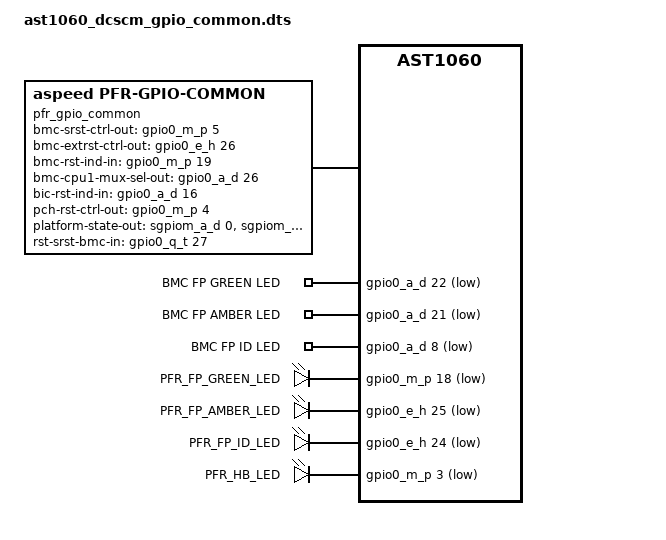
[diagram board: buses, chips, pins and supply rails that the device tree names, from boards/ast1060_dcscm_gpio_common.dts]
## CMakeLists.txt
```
# Copyright (c) 2022 ASPEED Technology Inc.
# SPDX-License-Identifier: MIT

cmake_minimum_required(VERSION 3.13.1)

find_package(Zephyr REQUIRED HINTS $ENV{ZEPHYR_BASE})
project(aspeed-pfr VERSION 03.00 LANGUAGES C)

set(PROJECT_VERSION_MAJOR ${CMAKE_PROJECT_VERSION_MAJOR})
set(PROJECT_VERSION_MINOR ${CMAKE_PROJECT_VERSION_MINOR})

configure_file(build_config.h.in build_config.h)
set(ASPEED_PFR_ROOT ${CMAKE_CURRENT_LIST_DIR})

add_subdirectory(src)

set(CERBERUS_ROOT $ENV{ZEPHYR_BASE}/../middlewares/cerberus)

zephyr_link_libraries(hrot_hal)
zephyr_link_libraries(hrot_wrapper)
zephyr_link_libraries(smf)

if (MBEDTLS_LMS_C)
    zephyr_link_libraries(lms)
endif()

zephyr_link_libraries(cerberus)
zephyr_link_libraries(mbedTLS)
zephyr_include_directories(mbedTLS)
zephyr_include_directories(.)
target_include_directories(
	app
	PRIVATE
	${CERBERUS_ROOT}/core
	${CERBERUS_ROOT}/projects/zephyr
	${ASPEED_PFR_ROOT}/src
	${ASPEED_PFR_ROOT}/src/state_machine
	${ZEPHYR_BASE}/include
	${PROJECT_BINARY_DIR}/include/generated
	${CMAKE_CURRENT_BINARY_DIR}
)
```

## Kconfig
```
# Copyright (c) 2022 ASPEED Technology Inc.
# # SPDX-License-Identifier: MIT

config ASPEED_DC_SCM
	default n
	bool "ASPEED DC-SCM board"
	help
	  Enable ASPEED DC-SCM board basic settings.

config BMC_DUAL_FLASH
	default n
	bool "Enable BMC dual flash support"
	help
	  Enable if BMC has dual flash

config CPU_DUAL_FLASH
	default n
	bool "Enable CPU dual flash support"
	help
	  Enable if CPU has dual flash

config INTEL_PFR
	default y
	bool "intel pfr solution"
	help
	  Intel PFR support

config CERBERUS_PFR
	depends on !INTEL_PFR
	default n
	bool "cerberus pfr solution"
	help
	  Cerberus PFR support

config SPI_MUX_INVERSE
	default n
	bool "Invert SPI MUX"
	help
	  Enable if SPI MUX connected to BMC/ROT is inverted

config ASPEED_STATE_MACHINE_SHELL
	default n
	bool "Aspeed State Machine Shell"
	help
	  Enable if user need debug shell to interact with state machine

config ASPEED_DICE_SHELL
	default n
	bool "Aspeed DICE Shell"
	help
	  Enable if user want to test ASPEED DICE core layer implementation.

config ASPEED_DICE_CERT_VALID_FROM
	depends on ASPEED_DICE_SHELL
	default "20221010000000"
	string "Aspeed DICE certificate validity, format : YYYYMMDDhhmmss"
	help
	  Certificate not valid before this date.

config ASPEED_DICE_CERT_VALID_TO
	depends on ASPEED_DICE_SHELL
	default "20421010000000"
	string "Aspeed DICE certificate validity, format : YYYYMMDDhhmmss"
	help
	  Certificate not valid after this date.

config ASPEED_DICE_CERT_DEVID_ISSUER_NAME
	depends on ASPEED_DICE_SHELL
	default "CN=Aspeed PFR R00t,O=AST_TW,C=TW"
	string "Aspeed DICE devid certificate issuer name"
	help
	  Name of the certification authority which issued the device id certificate.

config ASPEED_DICE_CERT_ALIAS_ISSUER_NAME
	depends on ASPEED_DICE_SHELL
	default "CN=Aspeed PFR Core,O=AST_TW,C=TW"
	string "Aspeed DICE alias certificate issuer name"
	help
	  Name of the certification authority which issued the alias certificate.

config ASPEED_DICE_CERT_ALIAS_SUBJECT_NAME
	depends on ASPEED_DICE_SHELL
	default "CN=Aspeed PFR Core,O=AST_TW,C=TW"
	string "Aspeed DICE alias certificate subject name"
	help
	  Name of the person or entity to whom the certificate is being issued.

config BMC_CHECKPOINT_RECOVERY
	default n
	bool "BMC Checkpoint timeout recovery function"
	help
	  Enable if BMC supports mailbox checkpoint

config BMC_CHECKPOINT_EXPIRE_TIME
	default 175000
	int "Maximum timeout value for BMC checkpoint in mS"
	help
	  After system is provisioned, the watchdog will be armed during BMC
	  booting. The expire time will be set to this number in milliseconds.

config PCH_CHECKPOINT_RECOVERY
	default n
	bool "PCH Checkpoint timeout recovery function"
	help
	  Enable if PCH supports mailbox checkpoint

config PCH_CHECKPOINT_EXPIRE_TIME
	default 900000
	int "Maximum timeout value for PCH checkpoint in mS"
	help
	  After system is provisioned, the watchdog will be armed during BIOS
	  booting. The expire time will be set to this number in milliseconds.

config PLATFORM_STATE_LED
	default n
	bool "Display platfrom state in 8 bits LED"
	help
	  Enable if the system has PlatformState LEDs

config FRONT_PANEL_LED
	default n
	bool "Enable PFR front panel LED signals"
	help
	  Enable if the system has PFR front panel design.

config BMC_STAGING_SIZE
	default 0x03DE0000
	hex "BMC staging region size in BMC flash"
	help
	  The max size of BMC staging area for putting signed BMC capsule.

config BMC_PFR_STAGING_SIZE
	default 0x100000
	hex "PFR staging region size in BMC flash"
	help
	  The max size of PFR staging area for putting signed ROT capsule.

config BMC_CPLD_STAGING_SIZE
	default 0x400000
	hex "Platform CPLD staging region size in BMC flash"
	help
	  The max size of platform CPLD staging area for putting signed CPLD capsule.

config PCH_STAGING_SIZE
	default 0x1000000
	hex "PCH staging region size in PCH flash"
	help
	  The max size of PCH staging area for putting signed PCH capsule.

config BMC_PFR_STAGING_OFFSET
	default 0xbde0000
	hex "PFR staging region offset in BMC flash"
	help
	  The starting offset of PFR staging region, and this is also for Cerberus PFR provisioning.

config INIT_POWER_SEQUENCE
	default n
	bool "Wait for CPLD power sequence to start PFR functionality"
	help
	  PFR state machine will stay in INIT state until CPLD power sequence releases
	  RST_SRST_BMC_N and RST_RSMRST_N.

config SEAMLESS_UPDATE
	depends on INTEL_PFR
	depends on !CERBERUS_PFR
	default n
	bool "Seamless update support"
	help
	  Support FVM verification and host firmware update by seamless capsule.
	  PFR will update host firmware without going to t-1 state and rebooting host.

config PIT_PROTECTION
	depends on INTEL_PFR
	depends on !CERBERUS_PFR
	default n
	bool "PIT protection support"
	help
	  Enable PIT protection functions and PIT mailbox commands.
	  ROT will perform PIT check if PIT protection is enabled via mailbox command.

config PFR_SW_MAILBOX
	default n
        bool "SW mailbox solution"
        help
          Enable SW mailbox support.

config KEY_MANIFEST_MAX_COUNT
	depends on CERBERUS_PFR
	default 0x10
	hex "Key manifest max count"
	help
	  The max count of key manifest for Cerberus PFR.

config LMS_SIGN_SERIAL_OFFSET
	default 4
	int "LMS Public key and Signature have the serial number or not"
	help
	  If there is no serial number, to set it to 0. Otherwise, to set it to 4.

config OTP_SIM
	depends on !OTP_ASPEED
	default n
	bool "Simulate OTP"
	help
	  Enable using flash to simulate OTP memory

config OTP_SIM_SHELL
	depends on OTP_SIM
	default n
	bool "OTP shell commands"
	help
	  Enable OTP commands for read otp data from flash

config OTP_KEY_ADD
	default n
	bool "Add new key in OTP"
	help
	  Add new pub key in OTP region for owner transfer

config OTP_KEY_RETIRE
	depends on !OTP_KEY_ADD
	default n
	bool "Retire key in OTP"
	help
	  Retire previous key after new owner's key is added in OTP.

config SECURE_LOCK_MODE
	default 0
	int "lock mode for secure connection, 0:disbale, 1:loose mode, 2:restrict mode"
	help
	  loose mode means to block the non-secure connection when provision mode is locked, restrict mode means to block the non-secure connection when provision data is presented

rsource "Kconfig.spdm"
rsource "Kconfig.rsu"

config PFR_DEBUG_SHELL
	bool "Enable debug shell for development"
	select SHELL
	select FLASH_SHELL
	select GPIO_SHELL
	select HWINFO_SHELL
	select SPI_MONITOR_SHELL_ASPEED
	select ASPEED_STATE_MACHINE_SHELL

config PROVISION_SHELL
        depends on PFR_DEBUG_SHELL
        bool "Enable provision debug shell for development"
        default n
        help
          provision debug shell command

config ASPEED_STATE_MACHINE_EVENT_STEPPING
	depends on ASPEED_STATE_MACHINE_SHELL
	bool "Event stepping for state machine"
	default n

config IGNORE_BIOS_VALIDATION
	bool "Ignore BIOS validation"
	default n
	help
	  workaround for disabling the BIOS validation

source "Kconfig.zephyr"
```

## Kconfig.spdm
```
config PFR_MCTP
	depends on CERBERUS
	depends on CERBERUS_MCTP
	default n
	bool "PFR MCTP support"
	help
	  Enable PFR MCTP support.

config PFR_SPDM_ATTESTATION
	depends on PFR_MCTP
	default n
	bool "SPDM attestation support"

config PFR_MCTP_I3C
	depends on PFR_SPDM_ATTESTATION
	depends on PFR_MCTP
	depends on I3C
	default n
	bool "PFR MCTP over I3C support"
	help
	  Enable MCTP over I3C support

config PFR_MCTP_I3C_5_0
	depends on PFR_MCTP_I3C
	default n
	bool "PFR 5.0 MCTP over I3C support"
	help
	  Enable MCTP over I3C support for PFR 5.0

config PFR_SPDM_RESPONDER
	depends on PFR_MCTP
	default n
	bool "SPDM responder support"

config SECURE_CONNECTION_RESPONDER
	depends on PFR_SPDM_RESPONDER
	default n
	bool "SPDM secure responder support"

config SECURE_CONNECTION_REQUESTER
	depends on PFR_MCTP
	default n
	bool "SPDM secure requester support"

config PFR_HEARTBEAT_PERIOD
	default 60
	range 0 255
	int "Period of heartbeat in seconds"

if PFR_SPDM_ATTESTATION

config BMC_AFM_RECOVERY_OFFSET
	default 0x0c300000
	hex "AFM recovery region offset in BMC flash"

config BMC_AFM_STAGING_RECOVERY_SIZE
	default 0x20000
	hex "AFM staging/recovery region size in BMC flash"

config PFR_SPDM_ATTESTATION_DURATION
	default 60
	int "First attestation after boot complete checkpoint in seconds"

config PFR_SPDM_ATTESTATION_PERIOD
	default 600
	int "Period of attestation in seconds"

config PFR_SPDM_ATTESTATION_DEVICE_OFFSET
	default 0x1000
	hex "Device offset in AFM Device Structure, default is 4KB"

config PFR_SPDM_ATTESTATION_MAX_DEVICES
	default 8
	int "Maximum supported device in AFM"

config PFR_SPDM_I3C_BUS
	default 2
	int "I3C bus for attestation"

config PFR_SPDM_CPU_I3C_BUS
	default 0
	int "CPU I3C bus for attestation"

config PFR_SPDM_I3C_BMC_DEV_PID
	default 0x7ec05031000
	hex "I3C device pid for BMC"

config PFR_SPDM_I3C_HUB_DEV_PID
	default 0x4cdffffffff
	hex "I3C device pid for i3c hub"

config PFR_SPDM_I3C_CPU0_DEV_PID
	default 0x20a0000000f
	hex "I3C device pid for CPU0"

config PFR_SPDM_I3C_CPU1_DEV_PID
	default 0x20a0000100f
	hex "I3C device pid for CPU1"

config AFM_SPEC_VERSION
	range 3 4
	int "AFM Spec. version"
	help
	  To define AFM Spec. version. The valid values are 3 or 4.

endif # PFR_SPDM_ATTESTATION
```

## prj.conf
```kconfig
CONFIG_EVENTS=y
CONFIG_GPIO=y
CONFIG_SPI=y
CONFIG_I2C=y
CONFIG_HWINFO=y
CONFIG_HWINFO_ASPEED=y
CONFIG_CLOCK_CONTROL=y
CONFIG_THREAD_RUNTIME_STATS=y
CONFIG_ENTROPY_GENERATOR=y
CONFIG_ENTROPY_ASPEED_TRNG=y
CONFIG_I2C_TARGET=y
#CONFIG_I2C_EEPROM_TARGET=y
CONFIG_FLASH=y
CONFIG_FLASH_PAGE_LAYOUT=y
CONFIG_SPI_NOR=n
CONFIG_SPI_NOR_MULTI_DEV=y
CONFIG_SPI_DMA_SUPPORT_ASPEED=y
CONFIG_HEAP_MEM_POOL_SIZE=16384
CONFIG_COMMON_LIBC_MALLOC_ARENA_SIZE=147456
CONFIG_REBOOT=y
CONFIG_STACK_SENTINEL=y
CONFIG_LOG=y
CONFIG_SHELL=y
CONFIG_LOG_BUFFER_SIZE=8192
CONFIG_CRYPTO=y
CONFIG_CRYPTO_ASPEED=y
CONFIG_RSA_ASPEED=y
CONFIG_MAIN_STACK_SIZE=16384
CONFIG_SMF=y
CONFIG_SMF_ANCESTOR_SUPPORT=y
CONFIG_FLASH_MAP=y
CONFIG_ECDSA_ASPEED=y
CONFIG_MBEDTLS=y
CONFIG_MBEDTLS_BUILTIN=y
CONFIG_MBEDTLS_ECDSA_C=y
CONFIG_MBEDTLS_ECP_C=y
CONFIG_MBEDTLS_ECP_DP_SECP384R1_ENABLED=y
CONFIG_MBEDTLS_ECP_DP_SECP256R1_ENABLED=y
CONFIG_MBEDTLS_SHA1=y
CONFIG_MBEDTLS_SHA384=y
CONFIG_MBEDTLS_ECP_NIST_OPTIM=y
CONFIG_MBEDTLS_HMAC_DRBG_ENABLED=y
CONFIG_MBEDTLS_KEY_EXCHANGE_ECDH_ECDSA_ENABLED=n
CONFIG_MBEDTLS_ECP_DP_CURVE25519_ENABLED=n
CONFIG_MBEDTLS_CIPHER_GCM_ENABLED=y
CONFIG_MBEDTLS_ZEPHYR_ENTROPY=y
CONFIG_MBEDTLS_ENTROPY_ENABLED=n
CONFIG_MBEDTLS_PSA_CRYPTO_C=n
CONFIG_MBEDTLS_LMS_C=n
CONFIG_MBEDTLS_LMS_PRIVATE=n
CONFIG_LMS_SIGN_SERIAL_OFFSET=4
CONFIG_BASE64=y
CONFIG_LMS_SHELL=n

# CONFIG_MBEDTLS_LOG_LEVEL_DBG=y
CONFIG_SHELL_STACK_SIZE=8192
CONFIG_SHELL_BACKEND_SERIAL_INIT_PRIORITY=99
CONFIG_SHELL_BACKEND_SERIAL_LOG_MESSAGE_QUEUE_TIMEOUT=-1
CONFIG_SHELL_BACKEND_SERIAL_LOG_MESSAGE_QUEUE_SIZE=1024
CONFIG_SHELL_ARGC_MAX=70

CONFIG_CERBERUS=y
CONFIG_HROT_HAL=y
CONFIG_HROT_WRAPPER=y
CONFIG_I2C_LOG_LEVEL_ERR=y
CONFIG_ABR_FLOW_CTRL_ASPEED=y
CONFIG_BMC_CHECKPOINT_RECOVERY=n
CONFIG_LED=y
CONFIG_LED_GPIO=y
CONFIG_FRONT_PANEL_LED=y
CONFIG_MBEDTLS_USER_CONFIG_ENABLE=y
CONFIG_MBEDTLS_USER_CONFIG_FILE="mbedtls_config.h"


# Set to N in production
# CONFIG_ASPEED_STATE_MACHINE_EVENT_STEPPING=y
CONFIG_PFR_DEBUG_SHELL=y

CONFIG_I2C_ASPEED_SHELL=y

# Set to Y for JTAG debugging
CONFIG_DEBUG_THREAD_INFO=y
CONFIG_DYNAMIC_INTERRUPTS=y
CONFIG_LINKER_LAST_SECTION_ID=n
CONFIG_SYS_HEAP_INFO=y
#CONFIG_OTP_SIM=y
#CONFIG_OTP_SIM_SHELL=y
#CONFIG_OTP_ASPEED=y
#CONFIG_SHELL_CMDS_OTP=y
#CONFIG_OTP_KEY_ADD=y
#CONFIG_OTP_KEY_RETIRE=y
```

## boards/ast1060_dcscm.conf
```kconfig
CONFIG_GPIO_ASPEED_SGPIOM=y
CONFIG_GPIO_ASPEED=y
CONFIG_SPI_ASPEED=y
CONFIG_SPI_MONITOR_ASPEED=y
CONFIG_SPI_NOR_ADDR_MODE_FALLBACK_DISABLED=y
CONFIG_I2C_ASPEED=y
CONFIG_I2C_PFR=y
CONFIG_I2C_PFR_INIT_PRIORITY=60
CONFIG_I2C_PFR_FILTER=y
CONFIG_WATCHDOG=y
CONFIG_WDT_ASPEED=y
CONFIG_ASPEED_DC_SCM=y
CONFIG_PFR_SW_MAILBOX=y
CONFIG_I2C_SWMBX_TARGET=y
CONFIG_PLATFORM_STATE_LED=y
CONFIG_CPU_DUAL_FLASH=y
CONFIG_BMC_STAGING_SIZE=0x3de0000
CONFIG_BMC_PFR_STAGING_SIZE=0x100000
CONFIG_BMC_CPLD_STAGING_SIZE=0x400000
CONFIG_PCH_STAGING_SIZE=0x1400000
CONFIG_PIT_PROTECTION=y

CONFIG_INTEL_PFR=y

# Intel PFR 3.0
CONFIG_SEAMLESS_UPDATE=y
CONFIG_CERBERUS_MCTP=y
CONFIG_CERBERUS_MCTP_TEST_ECHO=n
CONFIG_PFR_MCTP=y
CONFIG_PFR_SPDM_ATTESTATION=y
CONFIG_PFR_SPDM_RESPONDER=y

# Intel PFR 4.0
# MCTP over I3C
CONFIG_I3C=y
CONFIG_I3C_ASPEED=y
CONFIG_PFR_MCTP_I3C=y
CONFIG_I3C_IBI_WORKQUEUE=y
CONFIG_I3C_USE_IBI=y

# CPLD Update
#CONFIG_INTEL_PFR_CPLD_UPDATE=y
#CONFIG_INTEL_SCM_CPLD_UPDATE_ONLY=y

# Provision debug
CONFIG_PROVISION_SHELL=y

# AFM version settings
CONFIG_AFM_SPEC_VERSION=4
CONFIG_PFR_SPDM_ATTESTATION_DEVICE_OFFSET=0x2000
CONFIG_PFR_SPDM_ATTESTATION_MAX_DEVICES=33

# Intel PFR 5.0
CONFIG_PFR_MCTP_I3C_5_0=n
CONFIG_I3C_TARGET=n
CONFIG_I3C_TARGET_MQUEUE=n
CONFIG_SECURE_CONNECTION_RESPONDER=n
CONFIG_SECURE_CONNECTION_REQUESTER=n
CONFIG_SECURE_LOCK_MODE=2
```

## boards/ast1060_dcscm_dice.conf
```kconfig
CONFIG_GPIO_ASPEED_SGPIOM=y
CONFIG_GPIO_ASPEED=y
CONFIG_SPI_ASPEED=y
CONFIG_SPI_MONITOR_ASPEED=y
CONFIG_SPI_NOR_ADDR_MODE_FALLBACK_DISABLED=y
CONFIG_I2C_ASPEED=y
CONFIG_I2C_PFR=y
CONFIG_I2C_PFR_INIT_PRIORITY=60
CONFIG_I2C_PFR_FILTER=y
CONFIG_WATCHDOG=y
CONFIG_WDT_ASPEED=y
CONFIG_ASPEED_DC_SCM=y
CONFIG_PFR_SW_MAILBOX=y
CONFIG_I2C_SWMBX_TARGET=y
CONFIG_PLATFORM_STATE_LED=y
CONFIG_CPU_DUAL_FLASH=y
CONFIG_BMC_STAGING_SIZE=0x3de0000
CONFIG_BMC_PFR_STAGING_SIZE=0x100000
CONFIG_BMC_CPLD_STAGING_SIZE=0x400000
CONFIG_PCH_STAGING_SIZE=0x1400000

CONFIG_INTEL_PFR=y

# Intel PFR 3.0
CONFIG_SEAMLESS_UPDATE=y
CONFIG_CERBERUS_MCTP=y
CONFIG_CERBERUS_MCTP_TEST_ECHO=n
CONFIG_PFR_MCTP=y
CONFIG_PFR_SPDM_ATTESTATION=n
CONFIG_PFR_SPDM_RESPONDER=y

# Intel PFR 4.0
# MCTP over I3C
CONFIG_I3C=y
CONFIG_I3C_ASPEED=y
CONFIG_PFR_MCTP_I3C=y
CONFIG_I3C_IBI_WORKQUEUE=y
CONFIG_I3C_USE_IBI=y

# CPLD Update
#CONFIG_INTEL_PFR_CPLD_UPDATE=y
#CONFIG_INTEL_SCM_CPLD_UPDATE_ONLY=y

# Provision debug
CONFIG_PROVISION_SHELL=y

# AFM version settings
CONFIG_AFM_SPEC_VERSION=4
CONFIG_PFR_SPDM_ATTESTATION_DEVICE_OFFSET=0x2000
CONFIG_PFR_SPDM_ATTESTATION_MAX_DEVICES=33

# Intel PFR 5.0
CONFIG_PFR_MCTP_I3C_5_0=n
CONFIG_I3C_TARGET=n
CONFIG_I3C_TARGET_MQUEUE=n
CONFIG_SECURE_CONNECTION_RESPONDER=n
CONFIG_SECURE_CONNECTION_REQUESTER=n
CONFIG_SECURE_LOCK_MODE=2
```

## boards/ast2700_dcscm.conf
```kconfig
CONFIG_GPIO_ASPEED_SGPIOM=y
CONFIG_GPIO_ASPEED=y
CONFIG_SPI_ASPEED=y
CONFIG_SPI_MONITOR_ASPEED=y
CONFIG_SPI_NOR_ADDR_MODE_FALLBACK_DISABLED=y
CONFIG_I2C_ASPEED=y
CONFIG_I2C_PFR=y
CONFIG_I2C_PFR_INIT_PRIORITY=60
CONFIG_I2C_PFR_FILTER=y
CONFIG_WATCHDOG=y
CONFIG_WDT_ASPEED=y
CONFIG_ASPEED_DC_SCM=y
CONFIG_PFR_SW_MAILBOX=y
CONFIG_I2C_SWMBX_TARGET=y
CONFIG_PLATFORM_STATE_LED=n
CONFIG_CPU_DUAL_FLASH=y
CONFIG_BMC_STAGING_SIZE=0x3de0000
CONFIG_BMC_PFR_STAGING_SIZE=0x100000
CONFIG_BMC_CPLD_STAGING_SIZE=0x400000
CONFIG_PCH_STAGING_SIZE=0x2000000
CONFIG_PIT_PROTECTION=y

CONFIG_INTEL_PFR=y

# Intel PFR 3.0
CONFIG_SEAMLESS_UPDATE=y
CONFIG_CERBERUS_MCTP=y
CONFIG_CERBERUS_MCTP_TEST_ECHO=n
CONFIG_PFR_MCTP=y
CONFIG_PFR_SPDM_ATTESTATION=y
CONFIG_PFR_SPDM_RESPONDER=y

# Intel PFR 4.0
# MCTP over I3C
CONFIG_I3C=y
CONFIG_I3C_ASPEED=y
CONFIG_PFR_MCTP_I3C=y
CONFIG_I3C_IBI_WORKQUEUE=y
CONFIG_I3C_USE_IBI=y
CONFIG_PFR_SPDM_I3C_BMC_DEV_PID=0x7ec06000000

# CPLD Update
#CONFIG_INTEL_PFR_CPLD_UPDATE=y
#CONFIG_INTEL_SCM_CPLD_UPDATE_ONLY=y

# Provision debug
CONFIG_PROVISION_SHELL=y

# Intel PFR 5.0
# CONFIG_PFR_MCTP_I3C_5_0=y
# CONFIG_I3C_TARGET=y
# CONFIG_I3C_TARGET_MQUEUE=y
# CONFIG_SECURE_CONNECTION_RESPONDER=y
# CONFIG_SECURE_CONNECTION_REQUESTER=y
# CONFIG_SECURE_LOCK_MODE=2
```

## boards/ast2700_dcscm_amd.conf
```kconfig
CONFIG_GPIO_ASPEED_SGPIOM=y
CONFIG_GPIO_ASPEED=y
CONFIG_SPI_ASPEED=y
CONFIG_SPI_MONITOR_ASPEED=y
CONFIG_SPI_NOR_ADDR_MODE_FALLBACK_DISABLED=y
CONFIG_I2C_ASPEED=y
CONFIG_I2C_PFR=y
CONFIG_I2C_PFR_INIT_PRIORITY=60
CONFIG_I2C_PFR_FILTER=y
CONFIG_WATCHDOG=y
CONFIG_WDT_ASPEED=y
CONFIG_ASPEED_DC_SCM=y
CONFIG_PFR_SW_MAILBOX=y
CONFIG_I2C_SWMBX_TARGET=y
CONFIG_PLATFORM_STATE_LED=n
CONFIG_CPU_DUAL_FLASH=y
# for ast2700-dcscm-amd-128
CONFIG_BMC_STAGING_SIZE=0x2A00000
CONFIG_BMC_PFR_STAGING_OFFSET=0x7D40000
CONFIG_BMC_PFR_STAGING_SIZE=0x100000
CONFIG_BMC_CPLD_STAGING_SIZE=0x400000
CONFIG_PCH_STAGING_SIZE=0xf00000
CONFIG_KEY_MANIFEST_MAX_COUNT=0x10

# Provision debug
CONFIG_PROVISION_SHELL=y

# for AMD POC ignore BIOS validation
CONFIG_IGNORE_BIOS_VALIDATION=y
```

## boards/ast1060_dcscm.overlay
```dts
#include "ast1060_dcscm_gpio_common.dts"
#include "ast1060_dcscm_gpio_bhs.dts"

#define AFM_VERSION 4

&i2cfilter {
	status = "okay";
};

&mbxctrl {
	status = "okay";
};

&i2c0 {
	status = "okay";

	swmbx0: swmbx0@38 {
		compatible = "aspeed,swmbx-dev";
		reg = <0x38>;
		size = <256>;
		port = <0>;
		status = "okay";
	};
};

&i2c1 {
	status = "okay";
};

&i2c2 {
	status = "okay";

	swmbx1: swmbx1@70 {
		compatible = "aspeed,swmbx-dev";
		reg = <0x70>;
		size = <256>;
		port = <1>;
		status = "okay";
	};
};

&i2c4 {
	status = "okay";
};

&i2c5 {
	status = "okay";
};

&i2c6 {
	status = "okay";
};

&i2c7 {
	status = "okay";
};

#if 1
&i3c0 {
	status = "okay";
	sda-tx-hold-ns = <20>;
	i3c-pp-scl-hi-period-ns = <380>;
	i3c-pp-scl-lo-period-ns = <620>;
	pinctrl-0 = <pinctrl_i3c0_default>;

	// i3chub
	i3cdev@4cdffffffff {
		compatible = "i3c-dummy-device";
		reg = <0x0 0x4cd 0xffffffff>;
		status = "okay";
	};

	// cpu0
	i3cdev@20a0000000f {
		compatible = "i3c-dummy-device";
		reg = <0x0 0x20a 0x0000000f>;
		status = "okay";
	};

	// cpu1
	i3cdev@20a0000100f {
		compatible = "i3c-dummy-device";
		reg = <0x0 0x20a 0x0000100f>;
		status = "okay";
	};
};

// For mctp over i3c
// AST2600 i3c-1 -> AST1060 i3c-2
&i3c2 {
	status = "okay";
	sda-tx-hold-ns = <20>;
	i3c-pp-scl-hi-period-ns = <250>;
	i3c-pp-scl-lo-period-ns = <250>;

	pinctrl-0 = <pinctrl_i3c2_default>;

	i3cdev@7ec05031000 {
		compatible = "i3c-dummy-device";
		reg = <0x0 0x7ec 0x05031000>;
		status = "okay";
	};
};
#else
// For testing PFR 5.0 it requires following modification on dcscm card:
// - TP313 connected to R187
// - TP314 connected to R188
// AST1060 i3c0 -> AST2600 i3c0 (LV)
// AST1060 i3c2 -> AST2600 i3c1 (LV)
&i3c0 {
	status = "okay";
	dcr = <0xcc>;
	secondary;

	pinctrl-0 = < pinctrl_i3c0_default >;

	i3c0_tmq:i3c-tmq@7eca0030000 {
		compatible = "i3c-target-mqueue";
		reg = <0x0 0x7ec 0xa0030000>;
		msg-size = <128>;
		num-of-msgs = <8>;
		mandatory-data-byte = <0xae>;
		status = "okay";
	};
};

&i3c2 {
	status = "okay";
	dcr = <0xcc>;
	secondary;

	pinctrl-0 = < pinctrl_i3c2_default >;

	i3c2_tmq:i3c-tmq@7eca0032000 {
		compatible = "i3c-target-mqueue";
		reg = <0x0 0x7ec 0xa0032000>;
		msg-size = <128>;
		num-of-msgs = <8>;
		mandatory-data-byte = <0xae>;
		status = "okay";
	};
};
#endif

&wdt0 {
	status = "okay";
};

&wdt1 {
	status = "okay";
};

&wdt2 {
	status = "okay";
};

&wdt3 {
	status = "okay";
};

&wdt4 {
	status = "okay";
};

&fmc {
	status = "okay";
};

&fmc_cs0 {
	/delete-property/ write-block-size;
	status = "okay";
	spi-max-buswidth = <4>;
	spi-max-frequency = <50000000>;
	partitions {
		compatible = "fixed-partitions";
		#address-cells = <1>;
		#size-cells = <1>;
		active_partition: partition@0 {
			label = "active";
			reg = <0x0 0x60000>;
		};

		recovery_partition: partition@60000 {
			label = "recovery";
			reg = <0x60000 0x60000>;
		};

		state_partition: partition@c0000 {
			label = "state";
			reg = <0xC0000 0x10000>;
		};

		intel_state_partition: partition@d0000 {
			label = "intel_state";
			reg = <0xD0000 0x10000>;
		};

		key_partition: partition@e0000 {
			label = "key";
			reg = <0xE0000 0x10000>;
		};

		afm_act_1_partition: partition@f0000 {
			label = "afm_act_1";
			reg = <0xF0000 0x10000>;
		};
	};
};

&fmc_cs1 {
	status = "okay";
	spi-max-buswidth = <4>;
	spi-max-frequency = <50000000>;
	partitions {
		compatible = "fixed-partitions";
		#address-cells = <1>;
		#size-cells = <1>;
#if (AFM_VERSION == 4)
		/* Reserved for Intel-PFR 4.0 */
		afm_act1_partition: partition@0 {
			label = "afm_active_1";
			reg = <0x0 0x20000>;
		};

		afm_act2_partition: partition@20000 {
			label = "afm_active_2";
			reg = <0x20000 0x20000>;
		};

		afm_rcv1_partition: partition@40000 {
			label = "afm_recovery_1";
			reg = <0x40000 0x20000>;
		};

		afm_rcv2_partition: partition@60000 {
			label = "afm_recovery_2";
			reg = <0x60000 0x20000>;
		};

		intel_cpld_act_partition: partition@80000 {
			label = "intel_cpld_act";
			reg = <0x80000 0x1C0000>;
		};
		intel_cpld_rc_partition: partition@240000 {
			label = "intel_cpld_rc";
			reg = <0x240000 0x1C0000>;
		};
#elif (AFM_VERSION == 3)
		intel_cpld_act_partition: partition@0 {
			label = "intel_cpld_act";
			reg = <0x000000 0x200000>;
		};
		intel_cpld_rc_partition: partition@200000 {
			label = "intel_cpld_rc";
			reg = <0x200000 0x200000>;
		};
#endif
	};
};

&spi1 {
	num-cs = <1>;
	status = "okay";
};

/* "SPI1_CS0" used to access flash connected to SPI_Monitor_1,
 * "SPI2_CS0" used to access flash connected to SPI_Monitor_3,
 * "SPI2_CS1" is used to access flash connected to SPI_Monitor_4,
 */

&spi1_cs0 {
	spi-max-buswidth = <4>;
	spi-max-frequency = <50000000>;
	spi-monitor-ctrl = <&spim1>;
	status = "okay";
};

&spi2_cs0 {
	spi-max-buswidth = <1>;
	spi-max-frequency = <50000000>;
	spi-monitor-ctrl = <&spim3>;
	status = "okay";
};

&spi2_cs1 {
	spi-max-buswidth = <1>;
	spi-max-frequency = <50000000>;
	spi-monitor-ctrl = <&spim4>;
	status = "okay";
};

&spi2 {
	internal-mux-master = <2>;
	spi-monitor-output-base = <3>;
	spi-monitor-common-ctrl = <&spim0>;
	pinctrl-0 = <>;

	num-cs = <2>;
	status = "okay";

	spim-proprietary-config-enable;
};

&spim0 {
	status = "okay";
};

&spim1 {
	allow-cmds = [03 13 0b 0c 6b 6c 01 05 35 06 04 20 21 9f 5a b7 e9 32 34 d8 dc 02 12 3b 3c 70 bb bc];
	log-ram-size = <0x200>;
	pinctrl-0 = <pinctrl_spim1_quad_default>;
	pinctrl-names = "default";
	ext-mux-sel = <1>;
	status = "okay";

	write-forbidden-regions = <
		0x00000000 0x10000000
	>;
};

&spim3 {
	allow-cmds = [03 13 0b 0c 6b 6c 01 05 35 06 04 20 21 9f 5a b7 e9 32 34 d8 dc 02 12 3b 3c 70 bb bc];
	log-ram-size = <0x200>;
	pinctrl-0 = <&pin_spim3csin &pin_spim3clkin &pin_spim3mosiin &pin_spim3misoin
		&pin_spim3csout &pin_spim3io2in &pin_spim3io3in &pin_spim3clkout
		&pin_spim3misoout &pin_spim3mosiout &pin_spim3io2out &pin_spim3io3out
		&pin_spim3muxsel>;
	pinctrl-names = "default";
	ext-mux-sel = <1>;
	status = "okay";
	write-forbidden-regions = <
		0x00000000 0x08000000
	>;
};

&spim4 {
	allow-cmds = [03 13 0b 0c 6b 6c 01 05 35 06 04 20 21 9f 5a b7 e9 32 34 d8 dc 02 12 3b 3c 70 bb bc];
	log-ram-size = <0x200>;
	pinctrl-0 = <&pin_spim4csin &pin_spim4clkin &pin_spim4mosiin &pin_spim4misoin
		&pin_spim4csout &pin_spim4io2in &pin_spim4io3in &pin_spim4clkout
		&pin_spim4misoout &pin_spim4mosiout &pin_spim4io2out &pin_spim4io3out
		&pin_spim4muxsel>;
	pinctrl-names = "default";
	ext-mux-sel = <1>;
	status = "okay";
	write-forbidden-regions = <
		0x00000000 0x08000000
	>;
};

&sgpiom {
	status = "okay";
	sgpiom_a_d {
		status = "okay";
	};
	sgpiom_e_h {
		status = "okay";
	};
	sgpiom_i_l {
		status = "okay";
	};
	sgpiom_m_p {
		status = "okay";
	};
};

&hace {
	status = "okay";
};

&rsa {
	status = "okay";
};

&ecdsa {
	status = "okay";
};
```

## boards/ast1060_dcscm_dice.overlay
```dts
#include "ast1060_dcscm_gpio_common.dts"
#include "ast1060_dcscm_gpio_bhs.dts"

#define AFM_VERSION 4

&i2cfilter {
	status = "okay";
};

&mbxctrl {
	status = "okay";
};

&i2c0 {
	status = "okay";

	swmbx0: swmbx0@38 {
		compatible = "aspeed,swmbx-dev";
		reg = <0x38>;
		size = <256>;
		port = <0>;
		status = "okay";
	};
};

&i2c1 {
	status = "okay";
};

&i2c2 {
	status = "okay";

	swmbx1: swmbx1@70 {
		compatible = "aspeed,swmbx-dev";
		reg = <0x70>;
		size = <256>;
		port = <1>;
		status = "okay";
	};
};

&i2c4 {
	status = "okay";
};

&i2c5 {
	status = "okay";
};

&i2c6 {
	status = "okay";
};

&i2c7 {
	status = "okay";
};

#if 1
&i3c0 {
	status = "okay";
	sda-tx-hold-ns = <20>;
	i3c-pp-scl-hi-period-ns = <380>;
	i3c-pp-scl-lo-period-ns = <620>;
	pinctrl-0 = <pinctrl_i3c0_default>;

	// i3chub
	i3cdev@4cdffffffff {
		compatible = "i3c-dummy-device";
		reg = <0x0 0x4cd 0xffffffff>;
		status = "okay";
	};

	// cpu0
	i3cdev@20a0000000f {
		compatible = "i3c-dummy-device";
		reg = <0x0 0x20a 0x0000000f>;
		status = "okay";
	};

	// cpu1
	i3cdev@20a0000100f {
		compatible = "i3c-dummy-device";
		reg = <0x0 0x20a 0x0000100f>;
		status = "okay";
	};
};

// For mctp over i3c
// AST2600 i3c-1 -> AST1060 i3c-2
&i3c2 {
	status = "okay";
	sda-tx-hold-ns = <20>;
	i3c-pp-scl-hi-period-ns = <250>;
	i3c-pp-scl-lo-period-ns = <250>;

	pinctrl-0 = <pinctrl_i3c2_default>;

	i3cdev@7ec05031000 {
		compatible = "i3c-dummy-device";
		reg = <0x0 0x7ec 0x05031000>;
		status = "okay";
	};
};
#else
// For testing PFR 5.0 it requires following modification on dcscm card:
// - TP313 connected to R187
// - TP314 connected to R188
// AST1060 i3c0 -> AST2600 i3c0 (LV)
// AST1060 i3c2 -> AST2600 i3c1 (LV)
&i3c0 {
	status = "okay";
	dcr = <0xcc>;
	secondary;

	pinctrl-0 = < pinctrl_i3c0_default >;

	i3c0_tmq:i3c-tmq@7eca0030000 {
		compatible = "i3c-target-mqueue";
		reg = <0x0 0x7ec 0xa0030000>;
		msg-size = <128>;
		num-of-msgs = <8>;
		mandatory-data-byte = <0xae>;
		status = "okay";
	};
};

&i3c2 {
	status = "okay";
	dcr = <0xcc>;
	secondary;

	pinctrl-0 = < pinctrl_i3c2_default >;

	i3c2_tmq:i3c-tmq@7eca0032000 {
		compatible = "i3c-target-mqueue";
		reg = <0x0 0x7ec 0xa0032000>;
		msg-size = <128>;
		num-of-msgs = <8>;
		mandatory-data-byte = <0xae>;
		status = "okay";
	};
};
#endif

&wdt0 {
	status = "okay";
};

&wdt1 {
	status = "okay";
};

&wdt2 {
	status = "okay";
};

&wdt3 {
	status = "okay";
};

&wdt4 {
	status = "okay";
};

&fmc {
	status = "okay";
};

&fmc_cs0 {
	/delete-property/ broken-sfdp;
	/delete-property/ write-block-size;
	status = "okay";
	spi-max-buswidth = <4>;
	spi-max-frequency = <50000000>;
	partitions {
		compatible = "fixed-partitions";
		#address-cells = <1>;
		#size-cells = <1>;
		mcuboot_partition: partition@0 {
			label = "mcuboot";
			reg = <0x0 0x1c000>;
		};

		certificate_partition: partition@1c000 {
			label = "certificate";
			reg = <0x1c000 0x4000>;
		};


		active_partition: partition@20000 {
			label = "active";
			reg = <0x20000 0x60000>;
		};

		recovery_partition: partition@80000 {
			label = "recovery";
			reg = <0x80000 0x60000>;
		};

		afm_act_1_partition: partition@e0000 {
			label = "afm_act_1";
			reg = <0xe0000 0x6000>;
		};

		state_partition: partition@e6000 {
			label = "state";
			reg = <0xe6000 0x2000>;
		};

		key_partition: partition@e8000 {
			label = "key";
			reg = <0xe8000 0x8000>;
		};

		intel_state_partition: partition@f0000 {
			label = "intel_state";
			reg = <0xf0000 0x10000>;
		};
	};
};

&fmc_cs1 {
	status = "okay";
	spi-max-buswidth = <4>;
	spi-max-frequency = <50000000>;
	partitions {
		compatible = "fixed-partitions";
		#address-cells = <1>;
		#size-cells = <1>;
#if (AFM_VERSION == 4)
		/* Reserved for Intel-PFR 4.0 */
		afm_act1_partition: partition@0 {
			label = "afm_active_1";
			reg = <0x0 0x20000>;
		};

		afm_act2_partition: partition@20000 {
			label = "afm_active_2";
			reg = <0x20000 0x20000>;
		};

		afm_rcv1_partition: partition@40000 {
			label = "afm_recovery_1";
			reg = <0x40000 0x20000>;
		};

		afm_rcv2_partition: partition@60000 {
			label = "afm_recovery_2";
			reg = <0x60000 0x20000>;
		};

		intel_cpld_act_partition: partition@80000 {
			label = "intel_cpld_act";
			reg = <0x80000 0x1C0000>;
		};
		intel_cpld_rc_partition: partition@240000 {
			label = "intel_cpld_rc";
			reg = <0x240000 0x1C0000>;
		};
#elif (AFM_VERSION == 3)
		intel_cpld_act_partition: partition@0 {
			label = "intel_cpld_act";
			reg = <0x000000 0x200000>;
		};
		intel_cpld_rc_partition: partition@200000 {
			label = "intel_cpld_rc";
			reg = <0x200000 0x200000>;
		};
#endif
	};
};

&spi1 {
	num-cs = <1>;
	status = "okay";
};

/* "SPI1_CS0" used to access flash connected to SPI_Monitor_1,
 * "SPI2_CS0" used to access flash connected to SPI_Monitor_3,
 * "SPI2_CS1" is used to access flash connected to SPI_Monitor_4,
 */

&spi1_cs0 {
	spi-max-buswidth = <4>;
	spi-max-frequency = <50000000>;
	spi-monitor-ctrl = <&spim1>;
	status = "okay";
};

&spi2_cs0 {
	spi-max-buswidth = <1>;
	spi-max-frequency = <50000000>;
	spi-monitor-ctrl = <&spim3>;
	status = "okay";
};

&spi2_cs1 {
	spi-max-buswidth = <1>;
	spi-max-frequency = <50000000>;
	spi-monitor-ctrl = <&spim4>;
	status = "okay";
};

&spi2 {
	internal-mux-master = <2>;
	spi-monitor-output-base = <3>;
	spi-monitor-common-ctrl = <&spim0>;
	pinctrl-0 = <>;

	num-cs = <2>;
	status = "okay";

	spim-proprietary-config-enable;
};

&spim0 {
	status = "okay";
};

&spim1 {
	allow-cmds = [03 13 0b 0c 6b 6c 01 05 35 06 04 20 21 9f 5a b7 e9 32 34 d8 dc 02 12 3b 3c 70 bb bc];
	log-ram-size = <0x200>;
	pinctrl-0 = <pinctrl_spim1_quad_default>;
	pinctrl-names = "default";
	ext-mux-sel = <1>;
	status = "okay";

	write-forbidden-regions = <
		0x00000000 0x10000000
	>;
};

&spim3 {
	allow-cmds = [03 13 0b 0c 6b 6c 01 05 35 06 04 20 21 9f 5a b7 e9 32 34 d8 dc 02 12 3b 3c 70 bb bc];
	log-ram-size = <0x200>;
	pinctrl-0 = <&pin_spim3csin &pin_spim3clkin &pin_spim3mosiin &pin_spim3misoin
		&pin_spim3csout &pin_spim3io2in &pin_spim3io3in &pin_spim3clkout
		&pin_spim3misoout &pin_spim3mosiout &pin_spim3io2out &pin_spim3io3out
		&pin_spim3muxsel>;
	pinctrl-names = "default";
	ext-mux-sel = <1>;
	status = "okay";
	write-forbidden-regions = <
		0x00000000 0x08000000
	>;
};

&spim4 {
	allow-cmds = [03 13 0b 0c 6b 6c 01 05 35 06 04 20 21 9f 5a b7 e9 32 34 d8 dc 02 12 3b 3c 70 bb bc];
	log-ram-size = <0x200>;
	pinctrl-0 = <&pin_spim4csin &pin_spim4clkin &pin_spim4mosiin &pin_spim4misoin
		&pin_spim4csout &pin_spim4io2in &pin_spim4io3in &pin_spim4clkout
		&pin_spim4misoout &pin_spim4mosiout &pin_spim4io2out &pin_spim4io3out
		&pin_spim4muxsel>;
	pinctrl-names = "default";
	ext-mux-sel = <1>;
	status = "okay";
	write-forbidden-regions = <
		0x00000000 0x08000000
	>;
};

&sgpiom {
	status = "okay";
	sgpiom_a_d {
		status = "okay";
	};
	sgpiom_e_h {
		status = "okay";
	};
	sgpiom_i_l {
		status = "okay";
	};
	sgpiom_m_p {
		status = "okay";
	};
};

&hace {
	status = "okay";
};

&rsa {
	status = "okay";
};

&ecdsa {
	status = "okay";
};
```

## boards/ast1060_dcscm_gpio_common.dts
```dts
#include <dt-bindings/gpio/gpio.h>

/ {
	pfr_gpio_common {
		compatible = "aspeed,pfr-gpio-common";
		bmc-srst-ctrl-out-gpios = <&gpio0_m_p 5 0>; /* GPIO_M5 */
		bmc-extrst-ctrl-out-gpios = <&gpio0_e_h 26 0>; /* GPIO_H2 */
		bmc-rst-ind-in-gpios = <&gpio0_m_p 19 0>; /* GPIO_O3 */
		bmc-cpu1-mux-sel-out-gpios = <&gpio0_a_d 26 0>; /* GPIO_D2 */
		bic-rst-ind-in-gpios = <&gpio0_a_d 16 0>; /* GPIO_C0 */
		pch-rst-ctrl-out-gpios = <&gpio0_m_p 4 0>; /* GPIO_M4 */

		platform-state-out-gpios =
			<&sgpiom_a_d 0 0>, <&sgpiom_a_d 1 0>,
			<&sgpiom_a_d 2 0>, <&sgpiom_a_d 3 0>,
			<&sgpiom_a_d 4 0>, <&sgpiom_a_d 5 0>,
			<&sgpiom_a_d 6 0>, <&sgpiom_a_d 7 0>;

		/* NOTICE:
		 * Normally, these two pin should be GPIO_ACTIVE_LOW, but currently this EVB
		 * doesn't produce correct power sequence by itself.
		 */
		rst-srst-bmc-in-gpios = <&gpio0_q_t 27 GPIO_ACTIVE_HIGH>; /* GPIO_T3 */
		rst-rsmrst-in-gpios = <&gpio0_q_t 24 GPIO_ACTIVE_HIGH>; /* GPIO_T0 */
	};

	aliases {
		fp-input0 = &bmc_fp_green_led_in;
		fp-input1 = &bmc_fp_amber_led_in;
		fp-input2 = &bmc_fp_id_led_in;
	};

	gpio_keys {
		compatible = "gpio-keys";
		bmc_fp_green_led_in: fp_green_led_in {
			gpios = <&gpio0_a_d 22 1>; /* GPIO_C6 */
			label = "BMC FP GREEN LED";
		};

		bmc_fp_amber_led_in: fp_amber_led_in {
			gpios = <&gpio0_a_d 21 1>; /* GPIO_C5 */
			label = "BMC FP AMBER LED";
		};

		bmc_fp_id_led_in: fp_id_led_in {
			gpios = <&gpio0_a_d 8 1>; /* GPIO_B0 */
			label = "BMC FP ID LED";
		};
	};

	leds {
		compatible = "gpio-leds";

		pfr_fp_green_led_out: green_led {
			gpios = <&gpio0_m_p 18 1>; /* GPIO_O2 */
			label = "PFR_FP_GREEN_LED";
		};

		pfr_fp_amber_led_out: amber_led {
			gpios = <&gpio0_e_h 25 1>; /* GPIO_H1 */
			label = "PFR_FP_AMBER_LED";
		};

		pfr_fp_id_led_out: id_led {
			gpios = <&gpio0_e_h 24 1>; /* GPIO_H0 */
			label = "PFR_FP_ID_LED";
		};

		pfr_hb_led_out: hb_led {
			gpios = <&gpio0_m_p 3 1>; /* GPIO_M3 */
			label = "PFR_HB_LED";
		};
	};
};
```

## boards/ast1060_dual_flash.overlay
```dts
#include "ast1060_dcscm_gpio_common.dts"
#include "ast1060_dcscm_gpio_egs.dts"

&i2cfilter {
	status = "okay";
};

&mbxctrl {
	status = "okay";
};

&i2c0 {
	status = "okay";

	swmbx0: swmbx0@38 {
		compatible = "aspeed,swmbx-dev";
		reg = <0x38>;
		size = <256>;
		port = <0>;
		status = "okay";
	};
};

&i2c1 {
	status = "okay";
};

&i2c2 {
	status = "okay";

	swmbx1: swmbx1@70 {
		compatible = "aspeed,swmbx-dev";
		reg = <0x70>;
		size = <256>;
		port = <1>;
		status = "okay";
	};
};

&i2c3 {
	status = "okay";
};

&i2c4 {
	status = "okay";
};

&i2c5 {
	status = "okay";
};

&i2c6 {
	status = "okay";
};

&i2c7 {
	status = "okay";
};

&wdt0 {
	status = "okay";
};

&wdt1 {
	status = "okay";
};

&wdt2 {
	status = "okay";
};

&wdt3 {
	status = "okay";
};

&wdt4 {
	status = "okay";
};

&fmc {
	status = "okay";
};

&fmc_cs0 {
	/delete-property/ write-block-size;
	status = "okay";
	spi-max-buswidth = <4>;
	spi-max-frequency = <50000000>;
	partitions {
		compatible = "fixed-partitions";
		#address-cells = <1>;
		#size-cells = <1>;
		active_partition: partition@0 {
			label = "active";
			reg = <0x0 0x60000>;
		};

		recovery_partition: partition@60000 {
			label = "recovery";
			reg = <0x60000 0x60000>;
		};

		state_partition: partition@c0000 {
			label = "state";
			reg = <0xC0000 0x10000>;
		};

		intel_state_partition: partition@d0000 {
			label = "intel_state";
			reg = <0xD0000 0x10000>;
		};

		key_partition: partition@e0000 {
			label = "key";
			reg = <0xE0000 0x10000>;
		};

		afm_act_1_partition: partition@f0000 {
			label = "afm_act_1";
			reg = <0xF0000 0x10000>;
		};
	};
};

&fmc_cs1 {
	status = "okay";
	spi-max-buswidth = <4>;
	spi-max-frequency = <50000000>;
};

&spi1 {
	num-cs = <2>;
	status = "okay";
};

/* "SPI1_CS0" is used to access flash connected to SPI_Monitor_1,
 * "SPI1_CS1" is used to access flash connected to SPI_Monitor_2,
 * "SPI2_CS0" is used to access flash connected to SPI_Monitor_3,
 * "SPI2_CS1" is used to access flash connected to SPI_Monitor_4,
 */

&spi1_cs0 {
	spi-max-buswidth = <4>;
	spi-max-frequency = <50000000>;
	spi-monitor-ctrl = <&spim1>;
	status = "okay";
};

&spi1_cs1 {
	spi-max-buswidth = <4>;
	spi-max-frequency = <50000000>;
	spi-monitor-ctrl = <&spim2>;
	status = "okay";
};

&spi2_cs0 {
	spi-max-buswidth = <1>;
	spi-max-frequency = <50000000>;
	spi-monitor-ctrl = <&spim3>;
	status = "okay";
};

&spi2_cs1 {
	spi-max-buswidth = <1>;
	spi-max-frequency = <50000000>;
	spi-monitor-ctrl = <&spim4>;
	status = "okay";
};

&spi2 {
	internal-mux-master = <2>;
	spi-monitor-output-base = <3>;
	spi-monitor-common-ctrl = <&spim0>;
	pinctrl-0 = <>;

	num-cs = <2>;
	status = "okay";

	spim-proprietary-config-enable;
};

&spim0 {
	status = "okay";
};

&spim1 {
	allow-cmds = [03 13 0b 0c 6b 6c 01 05 35 06 04 20 21 9f 5a b7 e9 32 34 d8 dc 02 12 3b 3c 70 bb bc];
	log-ram-size = <0x200>;
	pinctrl-0 = <pinctrl_spim1_quad_default>;
	pinctrl-names = "default";
	ext-mux-sel = <1>;
	status = "okay";

	write-forbidden-regions = <
		0x00000000 0x08000000
	>;
};

&spim2 {
	allow-cmds = [03 13 0b 0c 6b 6c 01 05 35 06 04 20 21 9f 5a b7 e9 32 34 d8 dc 02 12 3b 3c 70 bb bc];
	log-ram-size = <0x200>;
	pinctrl-0 = <pinctrl_spim2_quad_default>;
	pinctrl-names = "default";
	ext-mux-sel = <1>;
	status = "okay";

	write-forbidden-regions = <
		0x00000000 0x08000000
	>;
};

&spim3 {
	allow-cmds = [03 13 0b 0c 6b 6c 01 05 35 06 04 20 21 9f 5a b7 e9 32 34 d8 dc 02 12 3b 3c 70 bb bc];
	log-ram-size = <0x200>;
	pinctrl-0 = <&pin_spim3csin &pin_spim3clkin &pin_spim3mosiin &pin_spim3misoin
		&pin_spim3csout &pin_spim3io2in &pin_spim3io3in &pin_spim3clkout
		&pin_spim3misoout &pin_spim3mosiout &pin_spim3io2out &pin_spim3io3out
		&pin_spim3muxsel>;
	pinctrl-names = "default";
	ext-mux-sel = <1>;
	status = "okay";
	write-forbidden-regions = <
		0x00000000 0x08000000
	>;
};

&spim4 {
	allow-cmds = [03 13 0b 0c 6b 6c 01 05 35 06 04 20 21 9f 5a b7 e9 32 34 d8 dc 02 12 3b 3c 70 bb bc];
	log-ram-size = <0x200>;
	pinctrl-0 = <&pin_spim4csin &pin_spim4clkin &pin_spim4mosiin &pin_spim4misoin
		&pin_spim4csout &pin_spim4io2in &pin_spim4io3in &pin_spim4clkout
		&pin_spim4misoout &pin_spim4mosiout &pin_spim4io2out &pin_spim4io3out
		&pin_spim4muxsel>;
	pinctrl-names = "default";
	ext-mux-sel = <1>;
	status = "okay";
	write-forbidden-regions = <
		0x00000000 0x08000000
	>;
};

&sgpiom {
	status = "okay";
	sgpiom_a_d {
		status = "okay";
	};
	sgpiom_e_h {
		status = "okay";
	};
	sgpiom_i_l {
		status = "okay";
	};
	sgpiom_m_p {
		status = "okay";
	};
};

&hace {
	status = "okay";
};

&rsa {
	status = "okay";
};

&ecdsa {
	status = "okay";
};
```

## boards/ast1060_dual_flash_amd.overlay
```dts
#include "ast1060_dcscm_gpio_common.dts"
#include "ast1060_dcscm_gpio_genoa.dts"

&i2cfilter {
	status = "okay";
};

&mbxctrl {
	status = "okay";
};

&i2c0 {
	status = "okay";

	swmbx0: swmbx0@38 {
		compatible = "aspeed,swmbx-dev";
		reg = <0x38>;
		size = <256>;
		port = <0>;
		status = "okay";
	};
};

&i2c1 {
	status = "okay";
};

&i2c2 {
	status = "okay";

	swmbx1: swmbx1@70 {
		compatible = "aspeed,swmbx-dev";
		reg = <0x70>;
		size = <256>;
		port = <1>;
		status = "okay";
	};
};

&i2c3 {
	status = "okay";
};

&i2c4 {
	status = "okay";
};

&i2c5 {
	status = "okay";
};

&i2c6 {
	status = "okay";
};

&i2c7 {
	status = "okay";
};

&wdt0 {
	status = "okay";
};

&wdt1 {
	status = "okay";
};

&wdt2 {
	status = "okay";
};

&wdt3 {
	status = "okay";
};

&wdt4 {
	status = "okay";
};

&fmc {
	status = "okay";
};

&fmc_cs0 {
	/delete-property/ write-block-size;
	status = "okay";
	spi-max-buswidth = <4>;
	spi-max-frequency = <50000000>;
	partitions {
		compatible = "fixed-partitions";
		#address-cells = <1>;
		#size-cells = <1>;
		active_partition: partition@0 {
			label = "active";
			reg = <0x0 0x60000>;
		};

		recovery_partition: partition@60000 {
			label = "recovery";
			reg = <0x60000 0x60000>;
		};

		state_partition: partition@c0000 {
			label = "state";
			reg = <0xC0000 0x10000>;
		};

		intel_state_partition: partition@d0000 {
			label = "intel_state";
			reg = <0xD0000 0x10000>;
		};

		key_partition: partition@e0000 {
			label = "key";
			reg = <0xE0000 0x10000>;
		};

		afm_partition: partition@f0000 {
			label = "afm_act_1";
			reg = <0xF0000 0x10000>;
		};
	};
};

&fmc_cs1 {
	status = "okay";
	spi-max-buswidth = <4>;
	spi-max-frequency = <50000000>;
};

&spi1 {
	num-cs = <2>;
	status = "okay";
};

/* "SPI1_CS0" is used to access flash connected to SPI_Monitor_1,
 * "SPI1_CS1" is used to access flash connected to SPI_Monitor_2,
 * "SPI2_CS0" is used to access flash connected to SPI_Monitor_3,
 * "SPI2_CS1" is used to access flash connected to SPI_Monitor_4,
 */

&spi1_cs0 {
	spi-max-buswidth = <4>;
	spi-max-frequency = <50000000>;
	spi-monitor-ctrl = <&spim1>;
	status = "okay";
};

&spi1_cs1 {
	spi-max-buswidth = <4>;
	spi-max-frequency = <50000000>;
	spi-monitor-ctrl = <&spim2>;
	status = "okay";
};

&spi2_cs0 {
	spi-max-buswidth = <1>;
	spi-max-frequency = <50000000>;
	spi-monitor-ctrl = <&spim3>;
	status = "okay";
};

&spi2_cs1 {
	spi-max-buswidth = <1>;
	spi-max-frequency = <50000000>;
	spi-monitor-ctrl = <&spim4>;
	status = "okay";
};

&spi2 {
	internal-mux-master = <2>;
	spi-monitor-output-base = <3>;
	spi-monitor-common-ctrl = <&spim0>;
	pinctrl-0 = <>;

	num-cs = <2>;
	status = "okay";

	spim-proprietary-config-enable;
};

&spim0 {
	status = "okay";
};

&spim1 {
	allow-cmds = [03 13 0b 0c 6b 6c 01 05 35 06 04 20 21 9f 5a b7 e9 32 34 d8 dc 02 12 3b 3c 70 bb bc];
	log-ram-size = <0x200>;
	pinctrl-0 = <pinctrl_spim1_quad_default>;
	pinctrl-names = "default";
	ext-mux-sel = <1>;
	status = "okay";

	write-forbidden-regions = <
		0x00000000 0x08000000
	>;
};

&spim2 {
	allow-cmds = [03 13 0b 0c 6b 6c 01 05 35 06 04 20 21 9f 5a b7 e9 32 34 d8 dc 02 12 3b 3c 70 bb bc];
	log-ram-size = <0x200>;
	pinctrl-0 = <pinctrl_spim2_quad_default>;
	pinctrl-names = "default";
	ext-mux-sel = <1>;
	status = "okay";

	write-forbidden-regions = <
		0x00000000 0x08000000
	>;
};

&spim3 {
	allow-cmds = [03 13 0b 0c 6b 6c 01 05 35 06 04 20 21 9f 5a b7 e9 32 34 d8 dc 02 12 3b 3c 70 bb bc];
	log-ram-size = <0x200>;
	pinctrl-0 = <&pin_spim3csin &pin_spim3clkin &pin_spim3mosiin &pin_spim3misoin
		&pin_spim3csout &pin_spim3io2in &pin_spim3io3in &pin_spim3clkout
		&pin_spim3misoout &pin_spim3mosiout &pin_spim3io2out &pin_spim3io3out
		&pin_spim3muxsel>;
	pinctrl-names = "default";
	ext-mux-sel = <1>;
	status = "okay";
	write-forbidden-regions = <
		0x00000000 0x08000000
	>;
};

&spim4 {
	allow-cmds = [03 13 0b 0c 6b 6c 01 05 35 06 04 20 21 9f 5a b7 e9 32 34 d8 dc 02 12 3b 3c 70 bb bc];
	log-ram-size = <0x200>;
	pinctrl-0 = <&pin_spim4csin &pin_spim4clkin &pin_spim4mosiin &pin_spim4misoin
		&pin_spim4csout &pin_spim4io2in &pin_spim4io3in &pin_spim4clkout
		&pin_spim4misoout &pin_spim4mosiout &pin_spim4io2out &pin_spim4io3out
		&pin_spim4muxsel>;
	pinctrl-names = "default";
	ext-mux-sel = <1>;
	status = "okay";
	write-forbidden-regions = <
		0x00000000 0x08000000
	>;
};

&sgpiom {
	status = "okay";
	sgpiom_a_d {
		status = "okay";
	};
	sgpiom_e_h {
		status = "okay";
	};
	sgpiom_i_l {
		status = "okay";
	};
	sgpiom_m_p {
		status = "okay";
	};
};

&hace {
	status = "okay";
};

&rsa {
	status = "okay";
};

&ecdsa {
	status = "okay";
};
```

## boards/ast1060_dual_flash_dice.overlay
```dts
#include "ast1060_dcscm_gpio_common.dts"
#include "ast1060_dcscm_gpio_egs.dts"

&i2cfilter {
	status = "okay";
};

&mbxctrl {
	status = "okay";
};

&i2c0 {
	status = "okay";

	swmbx0: swmbx0@38 {
		compatible = "aspeed,swmbx-dev";
		reg = <0x38>;
		size = <256>;
		port = <0>;
		status = "okay";
	};
};

&i2c1 {
	status = "okay";
};

&i2c2 {
	status = "okay";

	swmbx1: swmbx1@70 {
		compatible = "aspeed,swmbx-dev";
		reg = <0x70>;
		size = <256>;
		port = <1>;
		status = "okay";
	};
};

&i2c3 {
	status = "okay";
};

&i2c4 {
	status = "okay";
};

&i2c5 {
	status = "okay";
};

&i2c6 {
	status = "okay";
};

&i2c7 {
	status = "okay";
};

&wdt0 {
	status = "okay";
};

&wdt1 {
	status = "okay";
};

&wdt2 {
	status = "okay";
};

&wdt3 {
	status = "okay";
};

&wdt4 {
	status = "okay";
};

&fmc {
	status = "okay";
};

&fmc_cs0 {
	/delete-property/ broken-sfdp;
	/delete-property/ write-block-size;
	status = "okay";
	spi-max-buswidth = <4>;
	spi-max-frequency = <50000000>;
	partitions {
		compatible = "fixed-partitions";
		#address-cells = <1>;
		#size-cells = <1>;
		mcuboot_partition: partition@0 {
			label = "mcuboot";
			reg = <0x0 0x1c000>;
		};

		certificate_partition: partition@1c000 {
			label = "certificate";
			reg = <0x1c000 0x4000>;
		};


		active_partition: partition@20000 {
			label = "active";
			reg = <0x20000 0x60000>;
		};

		recovery_partition: partition@80000 {
			label = "recovery";
			reg = <0x80000 0x60000>;
		};

		afm_act_1_partition: partition@e0000 {
			label = "afm_act_1";
			reg = <0xe0000 0x6000>;
		};

		state_partition: partition@e6000 {
			label = "state";
			reg = <0xe6000 0x2000>;
		};

		key_partition: partition@e8000 {
			label = "key";
			reg = <0xe8000 0x8000>;
		};

		intel_state_partition: partition@f0000 {
			label = "intel_state";
			reg = <0xf0000 0x10000>;
		};
	};
};

&fmc_cs1 {
	status = "okay";
	spi-max-buswidth = <4>;
	spi-max-frequency = <50000000>;
};

&spi1 {
	num-cs = <2>;
	status = "okay";
};

/* "SPI1_CS0" is used to access flash connected to SPI_Monitor_1,
 * "SPI1_CS1" is used to access flash connected to SPI_Monitor_2,
 * "SPI2_CS0" is used to access flash connected to SPI_Monitor_3,
 * "SPI2_CS1" is used to access flash connected to SPI_Monitor_4,
 */

&spi1_cs0 {
	spi-max-buswidth = <4>;
	spi-max-frequency = <50000000>;
	spi-monitor-ctrl = <&spim1>;
	status = "okay";
};

&spi1_cs1 {
	spi-max-buswidth = <4>;
	spi-max-frequency = <50000000>;
	spi-monitor-ctrl = <&spim2>;
	status = "okay";
};

&spi2_cs0 {
	spi-max-buswidth = <1>;
	spi-max-frequency = <50000000>;
	spi-monitor-ctrl = <&spim3>;
	status = "okay";
};

&spi2_cs1 {
	spi-max-buswidth = <1>;
	spi-max-frequency = <50000000>;
	spi-monitor-ctrl = <&spim4>;
	status = "okay";
};

&spi2 {
	internal-mux-master = <2>;
	spi-monitor-output-base = <3>;
	spi-monitor-common-ctrl = <&spim0>;
	pinctrl-0 = <>;

	num-cs = <2>;
	status = "okay";

	spim-proprietary-config-enable;
};

&spim0 {
	status = "okay";
};

&spim1 {
	allow-cmds = [03 13 0b 0c 6b 6c 01 05 35 06 04 20 21 9f 5a b7 e9 32 34 d8 dc 02 12 3b 3c 70 bb bc];
	log-ram-size = <0x200>;
	pinctrl-0 = <pinctrl_spim1_quad_default>;
	pinctrl-names = "default";
	ext-mux-sel = <1>;
	status = "okay";

	write-forbidden-regions = <
		0x00000000 0x08000000
	>;
};

&spim2 {
	allow-cmds = [03 13 0b 0c 6b 6c 01 05 35 06 04 20 21 9f 5a b7 e9 32 34 d8 dc 02 12 3b 3c 70 bb bc];
	log-ram-size = <0x200>;
	pinctrl-0 = <pinctrl_spim2_quad_default>;
	pinctrl-names = "default";

	ext-mux-sel = <1>;
	status = "okay";

	write-forbidden-regions = <
		0x00000000 0x08000000
	>;
};

&spim3 {
	allow-cmds = [03 13 0b 0c 6b 6c 01 05 35 06 04 20 21 9f 5a b7 e9 32 34 d8 dc 02 12 3b 3c 70 bb bc];
	log-ram-size = <0x200>;
	pinctrl-0 = <&pin_spim3csin &pin_spim3clkin &pin_spim3mosiin &pin_spim3misoin
		&pin_spim3csout &pin_spim3io2in &pin_spim3io3in &pin_spim3clkout
		&pin_spim3misoout &pin_spim3mosiout &pin_spim3io2out &pin_spim3io3out
		&pin_spim3muxsel>;
	pinctrl-names = "default";
	ext-mux-sel = <1>;
	status = "okay";
	write-forbidden-regions = <
		0x00000000 0x08000000
	>;
};

&spim4 {
	allow-cmds = [03 13 0b 0c 6b 6c 01 05 35 06 04 20 21 9f 5a b7 e9 32 34 d8 dc 02 12 3b 3c 70 bb bc];
	log-ram-size = <0x200>;
	pinctrl-0 = <&pin_spim4csin &pin_spim4clkin &pin_spim4mosiin &pin_spim4misoin
		&pin_spim4csout &pin_spim4io2in &pin_spim4io3in &pin_spim4clkout
		&pin_spim4misoout &pin_spim4mosiout &pin_spim4io2out &pin_spim4io3out
		&pin_spim4muxsel>;
	pinctrl-names = "default";
	ext-mux-sel = <1>;
	status = "okay";
	write-forbidden-regions = <
		0x00000000 0x08000000
	>;
};

&sgpiom {
	status = "okay";
	sgpiom_a_d {
		status = "okay";
	};
	sgpiom_e_h {
		status = "okay";
	};
	sgpiom_i_l {
		status = "okay";
	};
	sgpiom_m_p {
		status = "okay";
	};
};

&hace {
	status = "okay";
};

&rsa {
	status = "okay";
};

&ecdsa {
	status = "okay";
};
```

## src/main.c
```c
/*
 * Copyright (c) 2022 ASPEED Technology Inc.
 *
 * SPDX-License-Identifier: MIT
 */

#include <zephyr/logging/log.h>
#include <zephyr/kernel.h>
#include <build_config.h>
#include <zephyr/drivers/led.h>
#include <zephyr/drivers/gpio.h>
#include <zephyr/drivers/misc/aspeed/abr_aspeed.h>

#include "AspeedStateMachine/AspeedStateMachine.h"

LOG_MODULE_REGISTER(main, CONFIG_LOG_DEFAULT_LEVEL);

#define DEBUG_HALT() {				  \
		volatile int halt = 1;		  \
		while (halt) {			  \
			__asm__ volatile ("nop"); \
		}				  \
}

extern void aspeed_print_sysrst_info(void);

#if defined(CONFIG_LED_GPIO)
#if !DT_NODE_HAS_STATUS(DT_INST(0, gpio_leds), okay)
#error "no correct led gpio device"
#endif

#if DT_NODE_EXISTS(DT_NODELABEL(pfr_hb_led_out))
#define HB_LED_IDX DT_NODE_CHILD_IDX(DT_NODELABEL(pfr_hb_led_out))

void hbled_tick(struct k_timer *timer_id)
{
	static const struct device *led_dev = NULL;
	static bool tock = false;

	if (led_dev == NULL)
		led_dev = device_get_binding("leds");

	if (led_dev) {
		if (tock) {
			LOG_DBG("PFR_SW_HBLED_OFF");
			led_off(led_dev, HB_LED_IDX);
			tock = false;
		} else {
			LOG_DBG("PFR_SW_HBLED_ON");
			led_on(led_dev, HB_LED_IDX);
			tock = true;
		}
	}
}

K_TIMER_DEFINE(hbled_timer, hbled_tick, NULL);
#endif
#endif

void main(void)
{
	LOG_INF("*** ASPEED_PFR version v%02d.%02d-dev Board:%s ***",
			PROJECT_VERSION_MAJOR, PROJECT_VERSION_MINOR, CONFIG_BOARD);
#if defined (CONFIG_BOARD_AST2700_DCSCM)
	LOG_WRN("FOR AST2700-A1 DCSCM Board Bring Up");
	LOG_WRN("v1 - IGNORE RSTIND");
	LOG_WRN("v2 - Mailbox I2C5 -> I2C0");
	LOG_WRN("v3 - Remove SGPIO workaround");
	LOG_WRN("v4 - I3C DBG LOG");
	LOG_WRN("v5 - Zephyr upgrade v3.7.0");
	LOG_WRN("v6 - Mailbox I2C1 -> I2C0");
	LOG_WRN("v7~8 - Add ast2700a0");
	LOG_WRN("v9 - Update SGPIO table");
#endif
#if 0
	// Halting for JTAG debug
	disable_abr_wdt();
	DEBUG_HALT();
#endif

	aspeed_print_sysrst_info();

#if defined(CONFIG_LED_GPIO) && DT_NODE_EXISTS(DT_NODELABEL(pfr_hb_led_out))
	k_timer_start(&hbled_timer, K_MSEC(500), K_MSEC(500));
#endif

	AspeedStateMachine();
}
```
